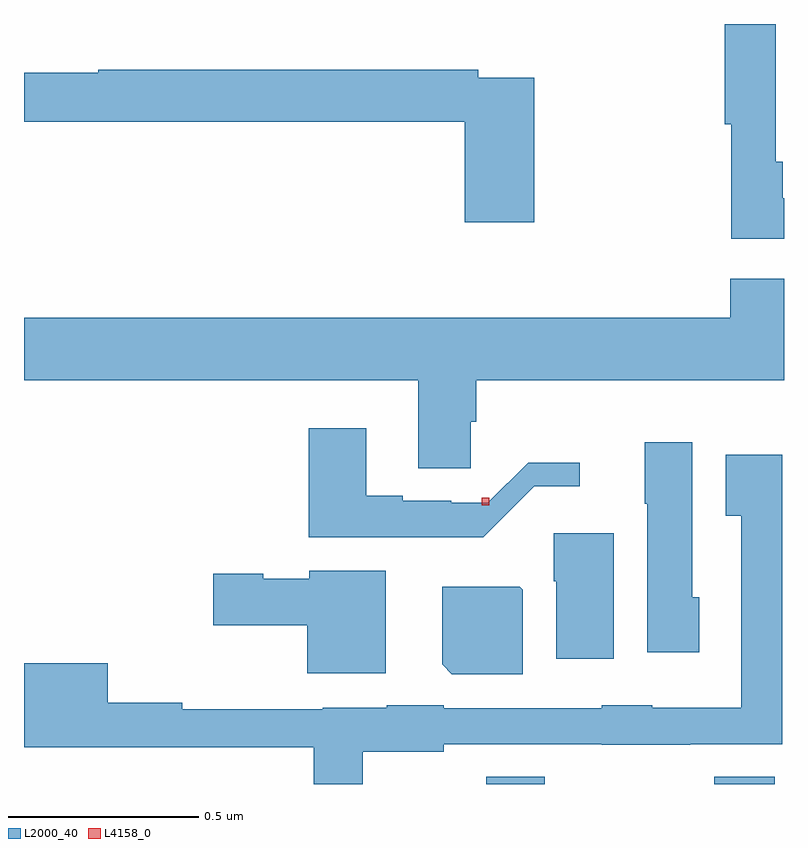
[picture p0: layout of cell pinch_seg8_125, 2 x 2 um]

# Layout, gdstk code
import gdstk
lib = gdstk.Library(unit=1e-6, precision=1e-09)
def R(c, l, rs):  # rectangles x0, y0, x1, y1
    for r in rs: c.add(gdstk.rectangle(r[:2], r[2:], *l))
def P(c, l, *ps):  # polygons
    for p in ps: c.add(gdstk.Polygon(p, *l))
L2000_40 = (2000, 40)
L4158_0 = (4158, 0)

pinch_seg8_125 = lib.new_cell('pinch_seg8_125')
R(pinch_seg8_125, L2000_40, [(1077.586,1107.445,1077.741,1107.464), (1078.186,1107.445,1078.346,1107.464)])
P(pinch_seg8_125, L2000_40, [(1078.37,1108.987),(1078.367,1108.987),(1078.367,1109.083),(1078.348,1109.083),(1078.348,1109.445),(1078.214,1109.445),(1078.214,1109.181),(1078.231,1109.181),(1078.231,1108.88),(1078.37,1108.88)],
  [(1077.713,1109.304),(1077.566,1109.304),(1077.566,1109.324),(1076.566,1109.324),(1076.566,1109.317),(1076.37,1109.317),(1076.37,1109.188),(1077.53,1109.188),(1077.53,1108.923),(1077.713,1108.923)],
  [(1077.546,1108.398),(1077.56,1108.398),(1077.56,1108.508),(1078.37,1108.508),(1078.37,1108.774),(1078.229,1108.774),(1078.229,1108.672),(1076.37,1108.672),(1076.37,1108.508),(1077.407,1108.508),(1077.407,1108.276),(1077.546,1108.276)],
  [(1077.713,1108.229),(1077.832,1108.229),(1077.832,1108.291),(1077.697,1108.291),(1077.591,1108.185),(1077.494,1108.185),(1077.494,1108.191),(1077.367,1108.191),(1077.367,1108.204),(1077.271,1108.204),(1077.271,1108.381),(1077.119,1108.381),(1077.119,1108.094),(1077.578,1108.094)],
  [(1078.147,1107.936),(1078.129,1107.936),(1078.129,1108.345),(1078.004,1108.345),(1078.004,1108.182),(1078.01,1108.182),(1078.01,1107.792),(1078.147,1107.792)],
  [(1077.262,1107.53),(1077.474,1107.53),(1077.474,1107.549),(1077.891,1107.549),(1077.891,1107.548),(1078.123,1107.548),(1078.123,1107.549),(1078.366,1107.549),(1078.366,1108.312),(1078.217,1108.312),(1078.217,1108.151),(1078.257,1108.151),(1078.257,1107.646),(1078.023,1107.646),(1078.023,1107.652),(1077.891,1107.652),(1077.891,1107.645),(1077.474,1107.645),(1077.474,1107.652),(1077.324,1107.652),(1077.324,1107.646),(1077.156,1107.646),(1077.156,1107.642),(1076.786,1107.642),(1076.786,1107.659),(1076.59,1107.659),(1076.59,1107.763),(1076.37,1107.763),(1076.37,1107.542),(1077.133,1107.542),(1077.133,1107.445),(1077.262,1107.445)],
  [(1077.922,1108.105),(1077.764,1108.105),(1077.764,1107.978),(1077.77,1107.978),(1077.77,1107.774),(1077.922,1107.774)],
  [(1077.322,1108.006),(1077.12,1108.006),(1077.12,1107.985),(1077,1107.985),(1077,1107.998),(1076.868,1107.998),(1076.868,1107.863),(1077.116,1107.863),(1077.116,1107.737),(1077.322,1107.737)],
  [(1077.682,1107.956),(1077.674,1107.964),(1077.47,1107.964),(1077.47,1107.76),(1077.496,1107.734),(1077.682,1107.734)])
R(pinch_seg8_125, L4158_0, [(1077.574,1108.178,1077.594,1108.198)])

lib.write_gds('pinch_seg8_125.gds')
